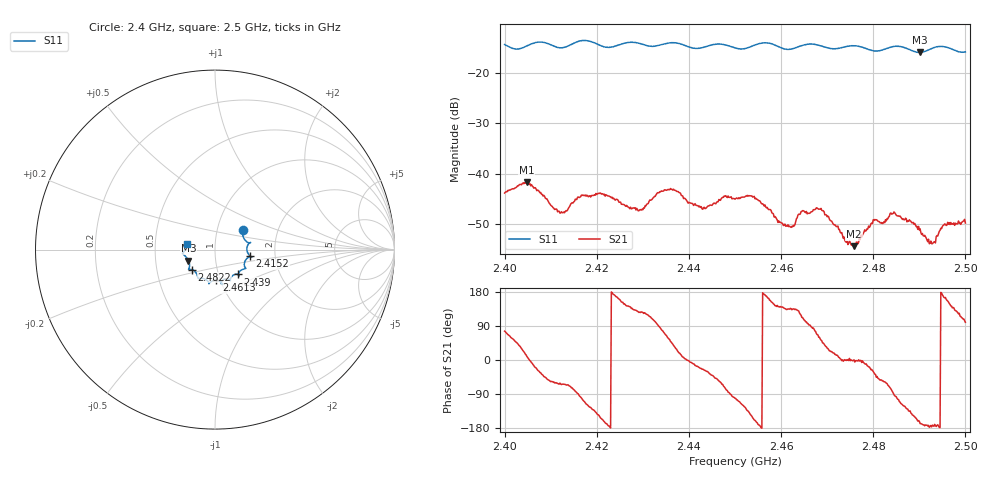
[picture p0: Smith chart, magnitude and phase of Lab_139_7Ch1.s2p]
# Hz S RI R 50
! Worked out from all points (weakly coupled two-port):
!   601 points, 2.4 GHz to 2.5 GHz, reference 50 ohm
!   highest |S21| = -41.69 dB at 2.4048 GHz (marker M1); lowest = -54.3 dB at 2.4758 GHz (marker M2)
!   lowest |S11| = -15.9 dB at 2.4902 GHz (marker M3), VSWR 1.38, Z = 36.9 - j4.61 ohm
!   |S11| at or under -10 dB: start of sweep to end of sweep
!   S12 and S22 are empty: the file has one direction only
!   S11 on the Smith chart (normalised r, x): 2.4 GHz: 1.33, +0.31; 2.4152 GHz: 1.48, -0.11; 2.439 GHz: 1.24, -0.36; 2.4613 GHz: 0.96, -0.34; 2.4822 GHz: 0.76, -0.17; 2.5 GHz: 0.73, +0.05
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2.4e9  0.1551 0.1116  0.00155 0.00628  0 0  0 0
2.404833e9  0.1809 0.041  0.00812 0.00134  0 0  0 0
2.412e9  0.1775 0.00597  0.00198 -0.00358  0 0  0 0
2.415167e9  0.1951 -0.0363  0.000952 -0.00527  0 0  0 0
2.416667e9  0.2048 -0.0422  -0.00108 -0.00607  0 0  0 0
2.4295e9  0.1633 -0.1068  -0.00257 0.00362  0 0  0 0
2.433333e9  0.1321 -0.1325  -0.000126 0.00651  0 0  0 0
2.439e9  0.1276 -0.1385  0.00574 0.000437  0 0  0 0
2.443333e9  0.0887 -0.1572  0.00417 -0.00212  0 0  0 0
2.45e9  0.0689 -0.1633  -0.00106 -0.00552  0 0  0 0
2.454e9  0.0351 -0.1834  -0.00541 -0.0025  0 0  0 0
2.461333e9  0.0077 -0.1711  -0.00209 0.0022  0 0  0 0
2.466667e9  -0.034 -0.1903  0.000254 0.00422  0 0  0 0
2.468833e9  -0.0357 -0.1807  0.00275 0.00339  0 0  0 0
2.475833e9  -0.094 -0.1608  0.00193 1.76e-05  0 0  0 0
2.48e9  -0.107 -0.1268  0.00303 -0.00178  0 0  0 0
2.482167e9  -0.1282 -0.1116  0.00185 -0.00268  0 0  0 0
2.483333e9  -0.1396 -0.1101  0.00139 -0.00348  0 0  0 0
2.490167e9  -0.1478 -0.0609  -0.0028 -0.000609  0 0  0 0
2.492667e9  -0.1721 -0.0303  -0.00203 -0.000126  0 0  0 0
2.495667e9  -0.1799 -0.0194  -0.00306 0.00082  0 0  0 0
2.5e9  -0.1583 0.0338  -0.000539 0.00322  0 0  0 0
